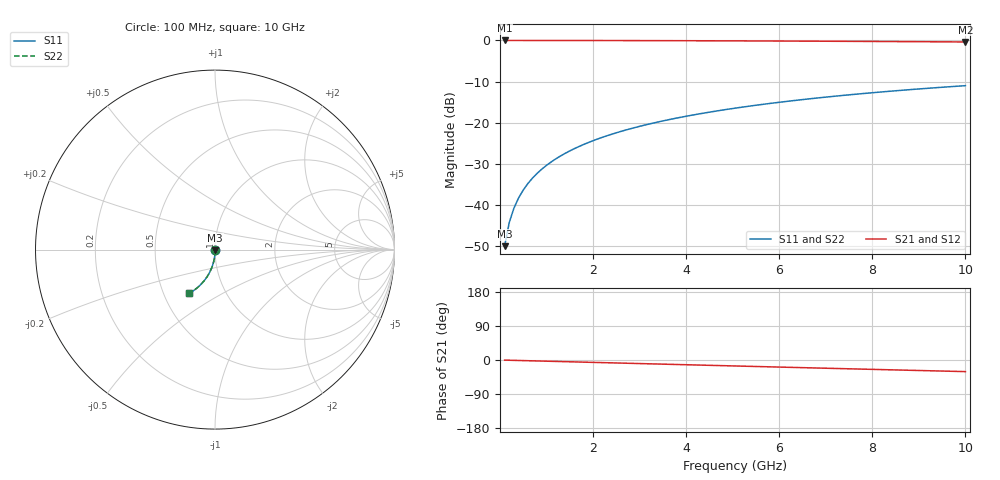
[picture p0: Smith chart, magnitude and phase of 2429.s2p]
# Hz S RI R 50.00
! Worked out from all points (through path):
!   100 points, 100 MHz to 10 GHz, reference 50 ohm
!   highest |S21| = -0.01 dB at 100 MHz (marker M1); lowest = -0.4 dB at 10 GHz (marker M2)
!   group delay of S21, straight-line fit = 8.53 ps
!   lowest |S11| = -50.1 dB at 100 MHz (marker M3), VSWR 1.01, Z = 50.1 - j0.303 ohm
!   |S11| at or under -10 dB: start of sweep to end of sweep
!   |S22| runs from -50.1 to -11.0 dB; largest |S21 - S12| = 0
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1e8  0.000845 -0.00303  0.9991 -0.00547  0.9991 -0.00547  0.000845 -0.00303
2e8  0.000797 -0.00605  0.999 -0.0109  0.999 -0.0109  0.000797 -0.00605
3e8  0.000714 -0.00908  0.9989 -0.0164  0.9989 -0.0164  0.000714 -0.00908
4e8  0.000598 -0.0121  0.9988 -0.0219  0.9988 -0.0219  0.000598 -0.0121
5e8  0.000448 -0.0151  0.9986 -0.0273  0.9986 -0.0273  0.000448 -0.0151
6e8  0.000265 -0.0181  0.9984 -0.0328  0.9984 -0.0328  0.000265 -0.0181
7e8  4.82e-05 -0.0212  0.9981 -0.0383  0.9981 -0.0383  4.82e-05 -0.0212
8e8  -0.000202 -0.0242  0.9978 -0.0437  0.9978 -0.0437  -0.000202 -0.0242
9e8  -0.000484 -0.0272  0.9975 -0.0492  0.9975 -0.0492  -0.000484 -0.0272
1.1e9  -0.00115 -0.0332  0.9967 -0.0601  0.9967 -0.0601  -0.00115 -0.0332
1.4e9  -0.00239 -0.0422  0.9952 -0.0764  0.9952 -0.0764  -0.00239 -0.0422
1.8e9  -0.00451 -0.0541  0.9927 -0.0981  0.9927 -0.0981  -0.00451 -0.0541
2.1e9  -0.00643 -0.063  0.9904 -0.1143  0.9904 -0.1143  -0.00643 -0.063
2.5e9  -0.00944 -0.0747  0.9868 -0.1357  0.9868 -0.1357  -0.00944 -0.0747
2.9e9  -0.013 -0.0862  0.9827 -0.157  0.9827 -0.157  -0.013 -0.0862
3.4e9  -0.018 -0.1003  0.9766 -0.1834  0.9766 -0.1834  -0.018 -0.1003
4.2e9  -0.0277 -0.1223  0.9651 -0.225  0.9651 -0.225  -0.0277 -0.1223
5.1e9  -0.0407 -0.1458  0.9495 -0.2705  0.9495 -0.2705  -0.0407 -0.1458
5.9e9  -0.0541 -0.1653  0.9335 -0.3097  0.9335 -0.3097  -0.0541 -0.1653
6.7e9  -0.069 -0.1836  0.9155 -0.3477  0.9155 -0.3477  -0.069 -0.1836
8.4e9  -0.1049 -0.2175  0.8716 -0.4235  0.8716 -0.4235  -0.1049 -0.2175
1e10  -0.1429 -0.2426  0.8243 -0.4882  0.8243 -0.4882  -0.1429 -0.2426
